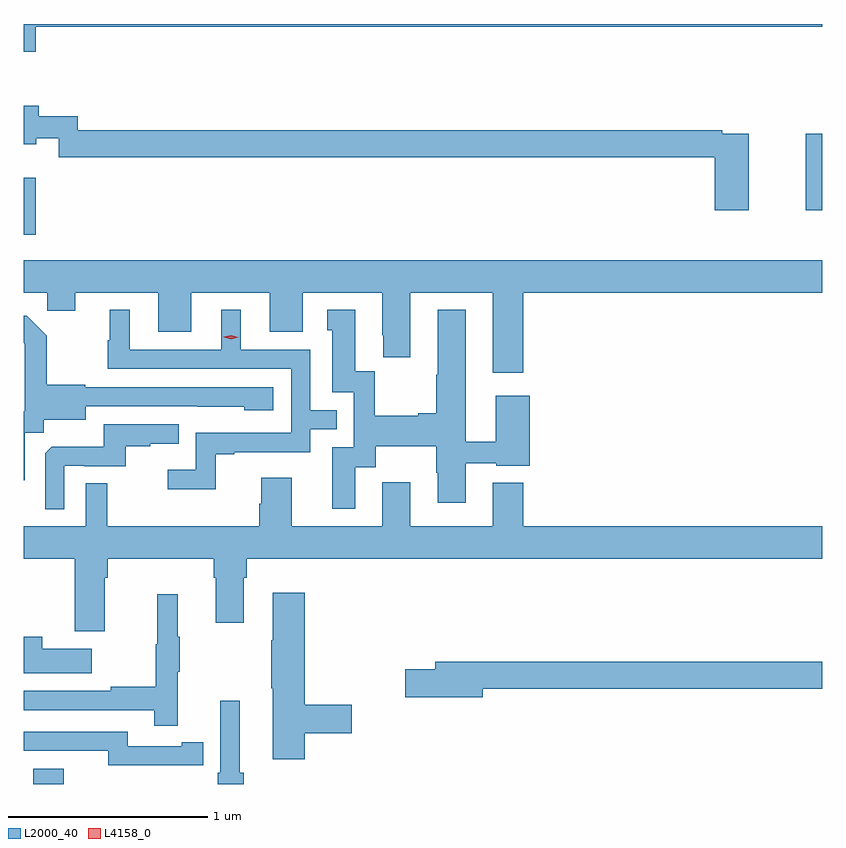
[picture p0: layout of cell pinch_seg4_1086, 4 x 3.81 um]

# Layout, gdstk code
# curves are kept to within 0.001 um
import gdstk
lib = gdstk.Library(unit=1e-6, precision=1e-09)
def R(c, l, rs):  # rectangles x0, y0, x1, y1
    for r in rs: c.add(gdstk.rectangle(r[:2], r[2:], *l))
def P(c, l, *ps):  # polygons
    for p in ps: c.add(gdstk.Polygon(p, *l))
L2000_40 = (2000, 40)
L4158_0 = (4158, 0)

pinch_seg4_1086 = lib.new_cell('pinch_seg4_1086')
R(pinch_seg4_1086, L2000_40, [(397.016,828.992,397.168,829.069), (396.968,831.744,397.028,832.03), (400.886,831.867,400.968,832.248)])
P(pinch_seg4_1086, L2000_40, [(397.028,832.784),(400.968,832.784),(400.968,832.799),(396.968,832.799),(396.968,832.66),(397.028,832.66)],
  [(400.6,832.248),(400.466,832.248),(400.466,832.268),(397.239,832.268),(397.239,832.336),(397.043,832.336),(397.043,832.39),(396.968,832.39),(396.968,832.196),(397.03,832.196),(397.03,832.226),(397.143,832.226),(397.143,832.132),(400.43,832.132),(400.43,831.867),(400.6,831.867)],
  [(399.47,831.452),(400.968,831.452),(400.968,831.616),(396.968,831.616),(396.968,831.452),(397.087,831.452),(397.087,831.362),(397.225,831.362),(397.225,831.452),(397.643,831.452),(397.643,831.258),(397.807,831.258),(397.807,831.452),(398.201,831.452),(398.201,831.258),(398.365,831.258),(398.365,831.452),(398.765,831.452),(398.765,831.241),(398.768,831.241),(398.768,831.129),(398.905,831.129),(398.905,831.452),(399.317,831.452),(399.317,831.051),(399.47,831.051)],
  [(397.929,830.643),(398.023,830.643),(398.023,830.655),(398.403,830.655),(398.403,830.769),(398.537,830.769),(398.537,830.865),(398.403,830.865),(398.403,831.168),(398.056,831.168),(398.056,831.367),(397.958,831.367),(397.958,831.168),(397.498,831.168),(397.498,831.367),(397.4,831.367),(397.4,831.216),(397.389,831.216),(397.389,831.072),(398.307,831.072),(398.307,830.751),(397.83,830.751),(397.83,830.566),(397.689,830.566),(397.689,830.468),(397.929,830.468)],
  [(398.629,830.578),(398.731,830.578),(398.731,830.684),(399.034,830.684),(399.034,830.55),(399.041,830.55),(399.041,830.4),(399.181,830.4),(399.181,830.598),(399.336,830.598),(399.336,830.585),(399.503,830.585),(399.503,830.938),(399.332,830.938),(399.332,830.707),(399.181,830.707),(399.181,831.367),(399.041,831.367),(399.041,831.041),(399.034,831.041),(399.034,830.849),(398.945,830.849),(398.945,830.836),(398.727,830.836),(398.727,831.059),(398.629,831.059),(398.629,831.367),(398.489,831.367),(398.489,831.264),(398.513,831.264),(398.513,830.955),(398.622,830.955),(398.622,830.679),(398.513,830.679),(398.513,830.37),(398.629,830.37)],
  [(396.973,830.752),(397.068,830.752),(397.068,830.816),(397.279,830.816),(397.279,830.883),(398.073,830.882),(398.073,830.864),(398.218,830.864),(398.218,830.979),(397.275,830.979),(397.275,830.992),(397.083,830.992),(397.083,831.237),(396.983,831.337),(396.968,831.337),(396.968,831.202),(396.974,831.196),(396.974,831.101),(396.972,831.101),(396.972,830.86),(396.968,830.86),(396.968,830.514),(396.973,830.514)],
  [(397.17,830.586),(397.27,830.586),(397.27,830.583),(397.478,830.583),(397.478,830.685),(397.601,830.685),(397.601,830.696),(397.745,830.696),(397.745,830.793),(397.368,830.793),(397.368,830.681),(397.109,830.681),(397.077,830.649),(397.077,830.369),(397.17,830.369)],
  [(400.968,830.284),(399.47,830.284),(399.47,830.5),(399.317,830.5),(399.317,830.284),(398.905,830.284),(398.905,830.503),(398.765,830.503),(398.765,830.284),(398.311,830.284),(398.311,830.527),(398.159,830.527),(398.159,830.397),(398.147,830.397),(398.147,830.284),(397.387,830.284),(397.387,830.498),(397.278,830.498),(397.278,830.284),(396.968,830.284),(396.968,830.12),(397.223,830.12),(397.223,829.758),(397.375,829.758),(397.375,830.024),(397.388,830.024),(397.388,830.12),(397.919,830.12),(397.919,830.024),(397.931,830.024),(397.931,829.8),(398.071,829.8),(398.071,830.024),(398.084,830.024),(398.084,830.12),(400.968,830.12)],
  [(398.375,829.246),(398.611,829.246),(398.611,829.388),(398.375,829.388),(398.375,829.951),(398.216,829.951),(398.216,829.712),(398.209,829.712),(398.209,829.471),(398.216,829.471),(398.216,829.116),(398.375,829.116)],
  [(397.739,829.555),(397.75,829.555),(397.75,829.729),(397.739,829.729),(397.739,829.942),(397.636,829.942),(397.636,829.692),(397.629,829.692),(397.629,829.478),(397.405,829.478),(397.405,829.458),(396.968,829.458),(396.968,829.362),(397.621,829.362),(397.621,829.284),(397.739,829.284)],
  [(397.309,829.669),(397.061,829.669),(397.061,829.729),(396.968,829.729),(396.968,829.547),(397.309,829.547)],
  [(399.268,829.468),(400.968,829.468),(400.968,829.604),(399.029,829.604),(399.029,829.568),(398.88,829.568),(398.88,829.426),(399.268,829.426)],
  [(398.069,829.048),(398.05,829.048),(398.05,829.408),(397.953,829.408),(397.953,829.048),(397.94,829.048),(397.94,828.992),(398.069,828.992)],
  [(397.76,829.086),(397.868,829.086),(397.868,829.202),(397.76,829.202),(397.76,829.182),(397.488,829.182),(397.488,829.254),(396.968,829.254),(396.968,829.158),(397.392,829.158),(397.392,829.085),(397.76,829.085)])
P(pinch_seg4_1086, L4158_0, [(398.007,831.22),(397.971,831.231),(397.971,831.232),(397.971,831.232),(398.007,831.24),(398.042,831.229),(398.043,831.229),(398.042,831.229)])

lib.write_gds('pinch_seg4_1086.gds')
